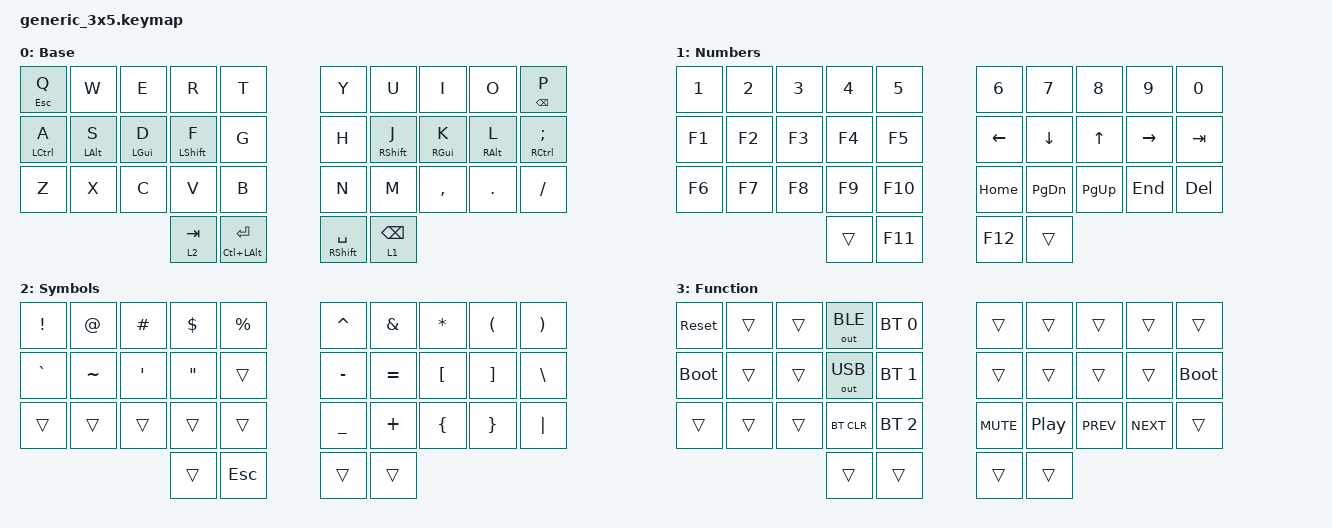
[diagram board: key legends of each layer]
/*
 * Generic 3x5 Keymap
 * Edit this file with keymap-editor, then apply to real boards
 */

#include <behaviors.dtsi>
#include <dt-bindings/zmk/bt.h>
#include <dt-bindings/zmk/keys.h>
#include <dt-bindings/zmk/outputs.h>

/ {
    behaviors {
        esc_q: escape_q {
            compatible = "zmk,behavior-hold-tap";
            #binding-cells = <2>;
            flavor = "tap-preferred";
            tapping-term-ms = <200>;
            quick-tap-ms = <150>;
            bindings = <&kp>, <&kp>;
        };

        bspc_p: backspace_p {
            compatible = "zmk,behavior-hold-tap";
            #binding-cells = <2>;
            flavor = "tap-preferred";
            tapping-term-ms = <200>;
            quick-tap-ms = <150>;
            bindings = <&kp>, <&kp>;
        };

        // Homerow mods - Left hand

        lmt: left_mod_tap {
            compatible = "zmk,behavior-hold-tap";
            #binding-cells = <2>;
            flavor = "tap-preferred";
            tapping-term-ms = <225>;
            quick-tap-ms = <105>;
            require-prior-idle-ms = <105>;
            hold-trigger-key-positions = <5 6 7 8 9 15 16 17 18 19 25 26 27 28 29 30 31 32 33>;
            bindings = <&kp>, <&kp>;
        };

        // Homerow mods - Right hand

        rmt: right_mod_tap {
            compatible = "zmk,behavior-hold-tap";
            #binding-cells = <2>;
            flavor = "tap-preferred";
            tapping-term-ms = <225>;
            quick-tap-ms = <105>;
            require-prior-idle-ms = <105>;
            hold-trigger-key-positions = <0 1 2 3 4 10 11 12 13 14 20 21 22 23 24 30 31 32 33>;
            bindings = <&kp>, <&kp>;
        };

        // Homerow mods - Left Shift

        lst: left_shift_tap {
            compatible = "zmk,behavior-hold-tap";
            #binding-cells = <2>;
            flavor = "balanced";
            tapping-term-ms = <165>;
            quick-tap-ms = <105>;
            hold-trigger-key-positions = <5 6 7 8 9 15 16 17 18 19 25 26 27 28 29 30 31 32 33>;
            bindings = <&kp>, <&kp>;
        };

        // Homerow mods - Right Shift

        rst: right_shift_tap {
            compatible = "zmk,behavior-hold-tap";
            #binding-cells = <2>;
            flavor = "balanced";
            tapping-term-ms = <165>;
            quick-tap-ms = <105>;
            hold-trigger-key-positions = <0 1 2 3 4 10 11 12 13 14 20 21 22 23 24 30 31 32 33>;
            bindings = <&kp>, <&kp>;
        };
    };

    macros {
        vim_q: macro_vim_q {
            compatible = "zmk,behavior-macro";
            #binding-cells = <0>;
            tap-ms = <1>;
            wait-ms = <1>;
            bindings = <&kp COLON &kp Q &kp EXCL>;
        };

        vim_s: macro_vim_s {
            compatible = "zmk,behavior-macro";
            #binding-cells = <0>;
            tap-ms = <1>;
            wait-ms = <1>;
            bindings = <&kp COLON &kp X>;
        };

        dir_up: macro_dir_up {
            compatible = "zmk,behavior-macro";
            #binding-cells = <0>;
            tap-ms = <1>;
            wait-ms = <1>;
            bindings = <&kp DOT &kp DOT &kp FSLH>;
        };
    };

    combos {
        compatible = "zmk,combos";

        combo_unlock {
            timeout-ms = <50>;
            key-positions = <0 1>;
            bindings = <&studio_unlock>;
            layers = <0>;
        };

        // Layer toggle

        combo_fnc {
            timeout-ms = <200>;
            key-positions = <30 33>;
            bindings = <&mo 3>;
        };

        // Invoke macros

        combo_dir_up {
            timeout-ms = <30>;
            require-prior-idle-ms = <200>;
            bindings = <&dir_up>;
            key-positions = <28 29>;
            layers = <0>;
        };

        // Media keys

        combo_vol_up {
            timeout-ms = <30>;
            require-prior-idle-ms = <200>;
            bindings = <&kp C_VOL_UP>;
            key-positions = <5 6>;
            layers = <0>;
        };

        combo_vol_dn {
            timeout-ms = <30>;
            require-prior-idle-ms = <200>;
            bindings = <&kp C_VOL_DN>;
            key-positions = <15 16>;
            layers = <0>;
        };

        // Navigation arrows

        combo_arr_up {
            timeout-ms = <30>;
            require-prior-idle-ms = <200>;
            bindings = <&kp UARW>;
            key-positions = <17 27>;
            layers = <0>;
        };

        combo_arr_dn {
            timeout-ms = <30>;
            require-prior-idle-ms = <200>;
            bindings = <&kp DARW>;
            key-positions = <16 26>;
            layers = <0>;
        };

        combo_arr_lt {
            timeout-ms = <30>;
            require-prior-idle-ms = <200>;
            bindings = <&kp LARW>;
            key-positions = <15 25>;
            layers = <0>;
        };

        combo_arr_rt {
            timeout-ms = <30>;
            require-prior-idle-ms = <200>;
            bindings = <&kp RARW>;
            key-positions = <18 28>;
            layers = <0>;
        };

        // Shortcuts

        combo_nav_up {
            timeout-ms = <30>;
            require-prior-idle-ms = <200>;
            bindings = <&kp LS(LA(UARW))>;
            key-positions = <27 28>;
            layers = <0>;
        };

        combo_nav_dn {
            timeout-ms = <30>;
            require-prior-idle-ms = <200>;
            bindings = <&kp LS(LA(DARW))>;
            key-positions = <26 27>;
            layers = <0>;
        };

        combo_sg_spc {
            timeout-ms = <30>;
            require-prior-idle-ms = <200>;
            bindings = <&kp LS(LG(SPACE))>;
            key-positions = <12 13>;
            layers = <0>;
        };
    };

    keymap {
        compatible = "zmk,keymap";

        base_layer {
            display-name = "Base";
            bindings = <
&esc_q ESC Q  &kp W        &kp E        &kp R         &kp T                                           &kp Y       &kp U         &kp I        &kp O        &bspc_p BSPC P
&lmt LCTRL A  &lmt LALT S  &lmt LGUI D  &lst LSHFT F  &kp G                                           &kp H       &rst RSHFT J  &rmt RGUI K  &rmt RALT L  &rmt RCTRL SEMI
&kp Z         &kp X        &kp C        &kp V         &kp B                                           &kp N       &kp M         &kp COMMA    &kp DOT      &kp SLASH
                                                      &lt 2 TAB  &mt LC(LALT) RET    &mt RSHFT SPACE  &lt 1 BSPC
            >;
        };

        num_layer {
            display-name = "Numbers";
            bindings = <
&kp N1  &kp N2  &kp N3  &kp N4  &kp N5                       &kp N6    &kp N7     &kp N8     &kp N9     &kp N0
&kp F1  &kp F2  &kp F3  &kp F4  &kp F5                       &kp LEFT  &kp DOWN   &kp UP     &kp RIGHT  &kp TAB
&kp F6  &kp F7  &kp F8  &kp F9  &kp F10                      &kp HOME  &kp PG_DN  &kp PG_UP  &kp END    &kp DEL
                                &trans   &kp F11    &kp F12  &trans
            >;
        };

        sym_layer {
            display-name = "Symbols";
            bindings = <
&kp EXCL   &kp AT     &kp HASH  &kp DLLR  &kp PRCNT                     &kp CARET  &kp AMPS   &kp ASTRK  &kp LPAR  &kp RPAR
&kp GRAVE  &kp TILDE  &kp SQT   &kp DQT   &trans                        &kp MINUS  &kp EQUAL  &kp LBKT   &kp RBKT  &kp BSLH
&trans     &trans     &trans    &trans    &trans                        &kp UNDER  &kp PLUS   &kp LBRC   &kp RBRC  &kp PIPE
                                          &trans     &kp ESC    &trans  &trans
            >;
        };

        fnc_layer {
            display-name = "Function";
            bindings = <
&sys_reset   &trans  &trans  &out OUT_BLE  &bt BT_SEL 0    &trans      &trans    &trans      &trans      &trans
&bootloader  &trans  &trans  &out OUT_USB  &bt BT_SEL 1    &trans      &trans    &trans      &trans      &bootloader
&trans       &trans  &trans  &bt BT_CLR    &bt BT_SEL 2    &kp C_MUTE  &kp C_PP  &kp C_PREV  &kp C_NEXT  &trans
                                           &trans        &trans    &trans  &trans
            >;
        };
    };
};
